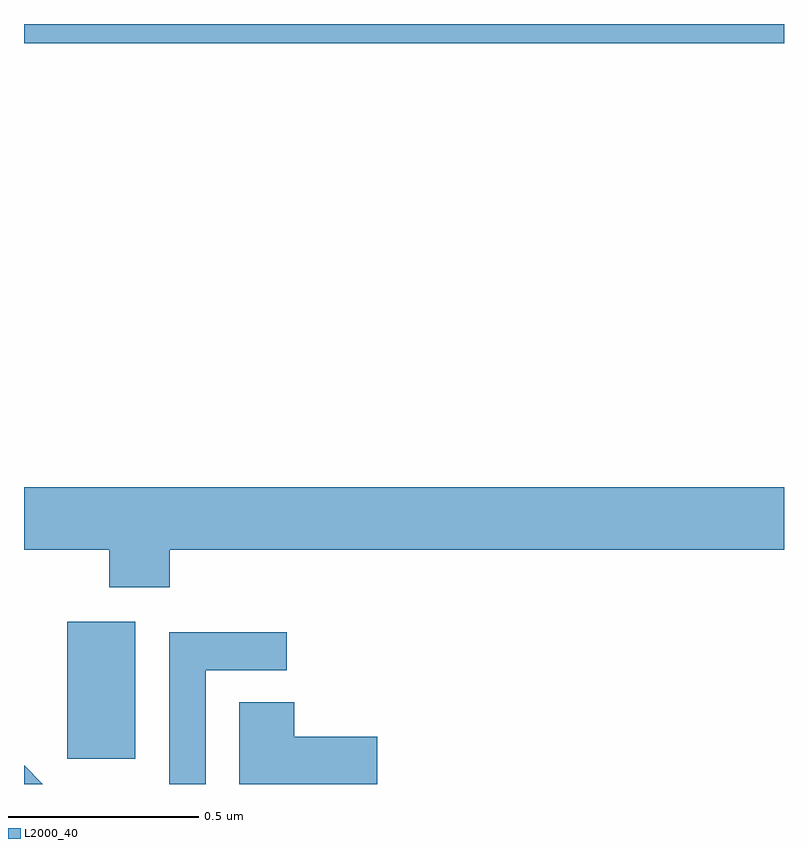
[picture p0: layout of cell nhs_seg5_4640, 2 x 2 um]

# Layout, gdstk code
import gdstk
lib = gdstk.Library(unit=1e-6, precision=1e-09)
def R(c, l, rs):  # rectangles x0, y0, x1, y1
    for r in rs: c.add(gdstk.rectangle(r[:2], r[2:], *l))
def P(c, l, *ps):  # polygons
    for p in ps: c.add(gdstk.Polygon(p, *l))
L2000_40 = (2000, 40)

nhs_seg5_4640 = lib.new_cell('nhs_seg5_4640')
R(nhs_seg5_4640, L2000_40, [(173.114,866.865,173.293,867.226), (173,868.748,175,868.799)])
P(nhs_seg5_4640, L2000_40, [(173.384,867.416),(175,867.416),(175,867.58),(173,867.58),(173,867.416),(173.224,867.416),(173.224,867.317),(173.384,867.317)],
  [(173.478,867.099),(173.692,867.099),(173.692,867.198),(173.382,867.198),(173.382,866.799),(173.478,866.799)],
  [(173.929,866.924),(173.711,866.924),(173.711,867.014),(173.567,867.014),(173.567,866.799),(173.929,866.799)],
  [(173,866.849),(173,866.799),(173.049,866.799)])

lib.write_gds('nhs_seg5_4640.gds')
